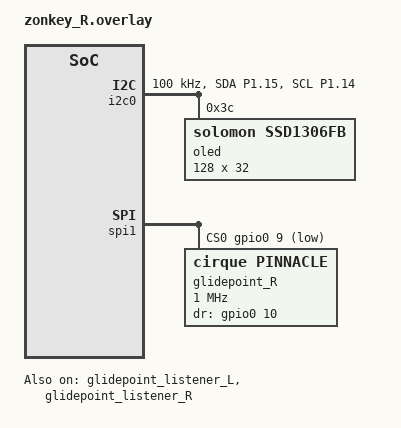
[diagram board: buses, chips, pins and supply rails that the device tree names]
#include "zonkey.dtsi"
#include <dt-bindings/zmk/input_transform.h>
#include <input/processors.dtsi>

&default_transform {
    col-offset = <6>;
};

&kscan0 {
    col-gpios = <&xiao_d 10 (GPIO_ACTIVE_HIGH)>,
                <&xiao_d 9  (GPIO_ACTIVE_HIGH)>,
                <&xiao_d 8  (GPIO_ACTIVE_HIGH)>,
                <&xiao_d 7  (GPIO_ACTIVE_HIGH)>,
                <&gpio0 19 (GPIO_ACTIVE_HIGH)>;
};

// 右手OLED用I2C設定
&pinctrl {
    i2c0_default: i2c0_default {
        group1 {
            psels = <NRF_PSEL(TWIM_SDA, 1, 15)>,
                    <NRF_PSEL(TWIM_SCL, 1, 14)>;
        };
    };

    i2c0_sleep: i2c0_sleep {
        group1 {
            psels = <NRF_PSEL(TWIM_SDA, 1, 15)>,
                    <NRF_PSEL(TWIM_SCL, 1, 14)>;
            low-power-enable;
        };
    };
};


&pinctrl {
    spi1_default: spi1_default {
        group1 {
            psels = <3 1 0>,  /* SCK */
                    <7 1 0>,  /* MOSI */
                    <5 1 0>;  /* MISO */
        };
    };
    spi1_sleep: spi1_sleep {
        group1 {
            psels = <3 1 0>,
                    <7 1 0>,
                    <5 1 0>;
            low-power-enable;
        };
    };
};

&glidepoint_listener_L {
    status = "okay";
};

&qspi {
    status = "disabled";
};

&i2c0 {
    status = "okay";
    compatible = "nordic,nrf-twi";
    pinctrl-0 = <&i2c0_default>;
    pinctrl-1 = <&i2c0_sleep>;
    pinctrl-names = "default", "sleep";
    clock-frequency = <100000>;

    oled: ssd1306@3c {
        compatible = "solomon,ssd1306fb";
        reg = <0x3c>;
        width = <128>;
        height = <32>;
        segment-offset = <0>;
        page-offset = <0>;
        display-offset = <0>;
        multiplex-ratio = <31>;
        com-sequential;
        inversion-on;
        prechargep = <0x22>;
    };
};

&spi1 {
    status = "okay";
    compatible = "nordic,nrf-spim";
    pinctrl-0 = <&spi0_default>;
    pinctrl-1 = <&spi0_sleep>;
    pinctrl-names = "default", "sleep";
    cs-gpios = <&gpio0 9 GPIO_ACTIVE_LOW>;

    glidepoint_R: glidepoint_R@0 {
        status = "okay";
        compatible = "cirque,pinnacle";
        reg = <0>;
        spi-max-frequency = <1000000>;
        dr-gpios = <&gpio0 10 (GPIO_ACTIVE_HIGH)>;
        rotate-90;
        sleep;
        no-taps;
        sensitivity = "2x";
    };
};

&glidepoint_listener_R {
    status = "okay";
    device = <&glidepoint_R>;
};

&xiao_serial { status = "disabled"; };
&uart0 { status = "disabled";};
